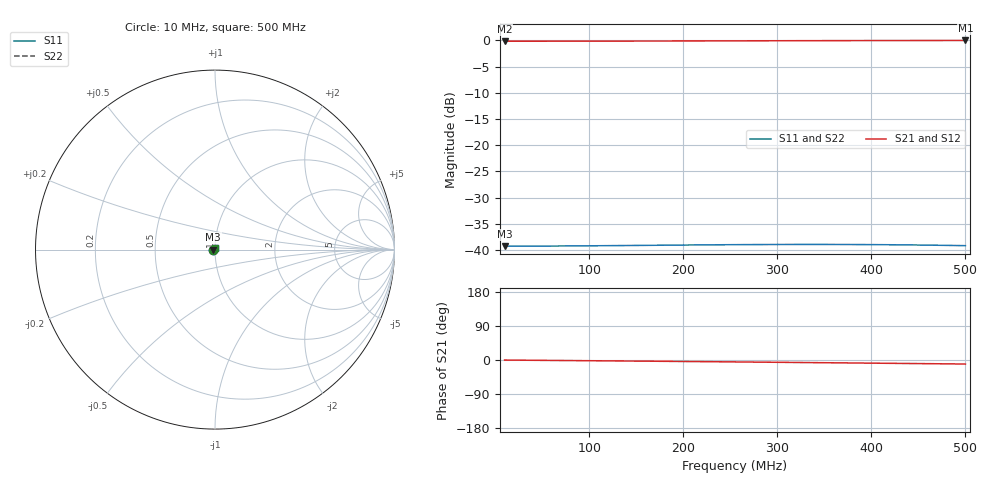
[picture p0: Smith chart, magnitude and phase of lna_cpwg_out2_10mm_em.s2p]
! Created with skrf 2.1.0 (http://scikit-rf.org).
# Hz S RI R 50.0
!freq ReS11 ImS11 ReS21 ImS21 ReS12 ImS12 ReS22 ImS22
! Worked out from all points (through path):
!   101 points, 10 MHz to 500 MHz, reference 50 ohm
!   highest |S21| = -0.02 dB at 500 MHz (marker M1); lowest = -0.2 dB at 10 MHz (marker M2)
!   group delay of S21, straight-line fit = 59.4 ps
!   lowest |S11| = -39.2 dB at 10 MHz (marker M3), VSWR 1.02, Z = 48.9 + j0.0487 ohm
!   |S11| at or under -10 dB: start of sweep to end of sweep
!   |S22| runs from -39.2 to -38.9 dB; largest |S21 - S12| = 4.5e-16
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1e7  -0.0109 0.000498  0.981 -0.0032  0.981 -0.0032  -0.0109 0.000498
2.96e7  -0.0108 0.00147  0.9811 -0.00949  0.9811 -0.00949  -0.0108 0.00147
4.92e7  -0.0107 0.00242  0.9813 -0.0158  0.9813 -0.0158  -0.0107 0.00242
6.88e7  -0.0104 0.00335  0.9816 -0.0222  0.9816 -0.0222  -0.0104 0.00335
9.33e7  -0.01 0.00445  0.982 -0.0302  0.982 -0.0302  -0.01 0.00445
1.129e8  -0.00967 0.00528  0.9824 -0.0368  0.9824 -0.0368  -0.00967 0.00528
1.374e8  -0.00913 0.00624  0.9829 -0.0451  0.9829 -0.0451  -0.00913 0.00624
1.766e8  -0.00816 0.00759  0.9838 -0.0587  0.9838 -0.0587  -0.00816 0.00759
2.207e8  -0.00696 0.0088  0.9848 -0.0746  0.9848 -0.0746  -0.00696 0.0088
2.55e8  -0.00601 0.00954  0.9853 -0.0873  0.9853 -0.0873  -0.00601 0.00954
2.795e8  -0.00534 0.00996  0.9856 -0.0965  0.9856 -0.0965  -0.00534 0.00996
2.991e8  -0.00483 0.0102  0.9857 -0.1041  0.9857 -0.1041  -0.00483 0.0102
3.187e8  -0.00433 0.0105  0.9857 -0.1116  0.9857 -0.1116  -0.00433 0.0105
3.383e8  -0.00385 0.0107  0.9856 -0.1193  0.9856 -0.1193  -0.00385 0.0107
3.628e8  -0.00328 0.0108  0.9854 -0.1289  0.9854 -0.1289  -0.00328 0.0108
3.824e8  -0.00286 0.0109  0.9851 -0.1367  0.9851 -0.1367  -0.00286 0.0109
4.02e8  -0.00246 0.011  0.9846 -0.1445  0.9846 -0.1445  -0.00246 0.011
4.216e8  -0.00209 0.0111  0.984 -0.1523  0.984 -0.1523  -0.00209 0.0111
4.412e8  -0.00174 0.0111  0.9834 -0.1602  0.9834 -0.1602  -0.00174 0.0111
4.608e8  -0.00143 0.0111  0.9826 -0.1681  0.9826 -0.1681  -0.00143 0.0111
4.804e8  -0.00114 0.011  0.9816 -0.1759  0.9816 -0.1759  -0.00114 0.011
5e8  -0.000886 0.011  0.9806 -0.1838  0.9806 -0.1838  -0.000886 0.011
